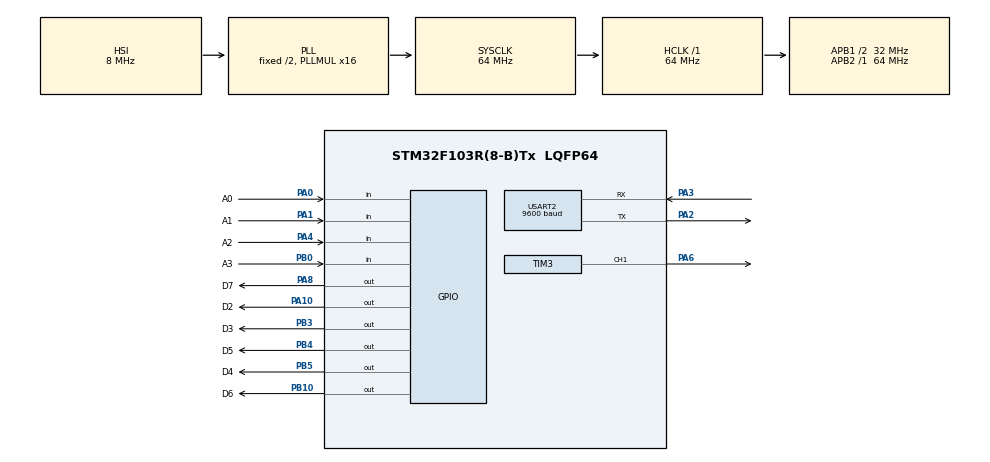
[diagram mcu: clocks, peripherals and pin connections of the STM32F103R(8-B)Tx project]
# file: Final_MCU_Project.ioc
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Mcu.Family=STM32F1
Mcu.Name=STM32F103R(8-B)Tx
Mcu.Package=LQFP64
NVIC.PriorityGroup=NVIC_PRIORITYGROUP_4
NVIC.TIM2_IRQn=true\:0\:0\:false\:false\:true\:true\:true
NVIC.USART2_IRQn=true\:0\:0\:false\:false\:true\:true\:true
PA0-WKUP.GPIO_Label=A0
PA0-WKUP.GPIO_PuPd=GPIO_PULLUP
PA0-WKUP.Signal=GPIO_Input
PA1.GPIO_Label=A1
PA1.GPIO_PuPd=GPIO_PULLUP
PA1.Signal=GPIO_Input
PA10.GPIO_Label=D2
PA10.Signal=GPIO_Output
PA13.Mode=Serial_Wire
PA13.Signal=SYS_JTMS-SWDIO
PA14.Mode=Serial_Wire
PA14.Signal=SYS_JTCK-SWCLK
PA2.Mode=Asynchronous
PA2.Signal=USART2_TX
PA3.Mode=Asynchronous
PA3.Signal=USART2_RX
PA4.GPIO_Label=A2
PA4.GPIO_PuPd=GPIO_PULLUP
PA4.Signal=GPIO_Input
PA6.Signal=S_TIM3_CH1
PA8.GPIO_Label=D7
PA8.Signal=GPIO_Output
PB0.GPIO_Label=A3
PB0.GPIO_PuPd=GPIO_PULLUP
PB0.Signal=GPIO_Input
PB10.GPIO_Label=D6
PB10.Signal=GPIO_Output
PB3.GPIO_Label=D3
PB3.Signal=GPIO_Output
PB4.GPIO_Label=D5
PB4.Signal=GPIO_Output
PB5.GPIO_Label=D4
PB5.Signal=GPIO_Output
ProjectManager.HeapSize=0x200
ProjectManager.StackSize=0x400
ProjectManager.TargetToolchain=STM32CubeIDE
RCC.AHBFreq_Value=64000000
RCC.APB1CLKDivider=RCC_HCLK_DIV2
RCC.APB1Freq_Value=32000000
RCC.APB1TimFreq_Value=64000000
RCC.APB2Freq_Value=64000000
RCC.APB2TimFreq_Value=64000000
RCC.HCLKFreq_Value=64000000
RCC.PLLMUL=RCC_PLL_MUL16
RCC.SYSCLKFreq_VALUE=64000000
RCC.SYSCLKSource=RCC_SYSCLKSOURCE_PLLCLK
RCC.USBFreq_Value=64000000
SH.S_TIM3_CH1.0=TIM3_CH1,PWM Generation1 CH1
TIM2.Period=10
TIM2.Prescaler=63999
TIM3.Channel-PWM\ Generation1\ CH1=TIM_CHANNEL_1
TIM3.Period=999
TIM3.Prescaler=63
USART2.BaudRate=9600
USART2.VirtualMode=VM_ASYNC
VP_TIM2_VS_ClockSourceINT.Mode=Internal
VP_TIM3_VS_ClockSourceINT.Mode=Internal
board=custom

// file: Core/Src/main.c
/* USER CODE BEGIN Header */
/**
  ******************************************************************************
  * @file           : main.c
  * @brief          : Main program body
  ******************************************************************************
  * @attention
  *
  * <h2><center>&copy; Copyright (c) 2022 STMicroelectronics.
  * All rights reserved.</center></h2>
  *
  * This software component is licensed by ST under BSD 3-Clause license,
  * the "License"; You may not use this file except in compliance with the
  * License. You may obtain a copy of the License at:
  *                        opensource.org/licenses/BSD-3-Clause
  *
  ******************************************************************************
  */
/* USER CODE END Header */
#include "main.h"

/* USER CODE BEGIN Includes */
#include "stdio.h"
#include "string.h"
#include "button.h"
#include "timer.h"
#include "traffic_led.h"
#include "fsm_traffic.h"
#include  "global.h"
#include "pedestrian.h"
#include "led_7_seg.h"
/* USER CODE END Includes */

TIM_HandleTypeDef htim2;
TIM_HandleTypeDef htim3;

UART_HandleTypeDef huart2;

void SystemClock_Config(void);
static void MX_GPIO_Init(void);
static void MX_TIM2_Init(void);
static void MX_TIM3_Init(void);
static void MX_USART2_UART_Init(void);

/* USER CODE BEGIN 0 */
char str[40];
void control_buzzer();
void send_uart();
/* USER CODE END 0 */

int main(void)
{

  /* MCU Configuration--------------------------------------------------------*/

  /* Reset of all peripherals, Initializes the Flash interface and the Systick. */
  HAL_Init();

  /* Configure the system clock */
  SystemClock_Config();

  /* Initialize all configured peripherals */
  MX_GPIO_Init();
  MX_TIM2_Init();
  MX_TIM3_Init();
  MX_USART2_UART_Init();
  /* USER CODE BEGIN 2 */
HAL_TIM_Base_Start_IT(&htim2);
HAL_TIM_PWM_Start(&htim3, TIM_CHANNEL_1);
  /* USER CODE END 2 */

  /* Infinite loop */
  /* USER CODE BEGIN WHILE */
mode = INIT_SYSTEM;

  while (1)
  {

	  fsm_for_button();
	  fsm_system_run();
	  fsm_pedestrian_run();
	  control_buzzer();
	 send_uart();
    /* USER CODE END WHILE */

  }
}

void SystemClock_Config(void)
{
  RCC_OscInitTypeDef RCC_OscInitStruct = {0};
  RCC_ClkInitTypeDef RCC_ClkInitStruct = {0};

  /** Initializes the RCC Oscillators according to the specified parameters
  * in the RCC_OscInitTypeDef structure.
  */
  RCC_OscInitStruct.OscillatorType = RCC_OSCILLATORTYPE_HSI;
  RCC_OscInitStruct.HSIState = RCC_HSI_ON;
  RCC_OscInitStruct.HSICalibrationValue = RCC_HSICALIBRATION_DEFAULT;
  RCC_OscInitStruct.PLL.PLLState = RCC_PLL_ON;
  RCC_OscInitStruct.PLL.PLLSource = RCC_PLLSOURCE_HSI_DIV2;
  RCC_OscInitStruct.PLL.PLLMUL = RCC_PLL_MUL16;
  if (HAL_RCC_OscConfig(&RCC_OscInitStruct) != HAL_OK)
  {
    Error_Handler();
  }
  /** Initializes the CPU, AHB and APB buses clocks
  */
  RCC_ClkInitStruct.ClockType = RCC_CLOCKTYPE_HCLK|RCC_CLOCKTYPE_SYSCLK
                              |RCC_CLOCKTYPE_PCLK1|RCC_CLOCKTYPE_PCLK2;
  RCC_ClkInitStruct.SYSCLKSource = RCC_SYSCLKSOURCE_PLLCLK;
  RCC_ClkInitStruct.AHBCLKDivider = RCC_SYSCLK_DIV1;
  RCC_ClkInitStruct.APB1CLKDivider = RCC_HCLK_DIV2;
  RCC_ClkInitStruct.APB2CLKDivider = RCC_HCLK_DIV1;

  if (HAL_RCC_ClockConfig(&RCC_ClkInitStruct, FLASH_LATENCY_2) != HAL_OK)
  {
    Error_Handler();
  }
}

static void MX_TIM2_Init(void)
{

  TIM_ClockConfigTypeDef sClockSourceConfig = {0};
  TIM_MasterConfigTypeDef sMasterConfig = {0};

  htim2.Instance = TIM2;
  htim2.Init.Prescaler = 63999;
  htim2.Init.CounterMode = TIM_COUNTERMODE_UP;
  htim2.Init.Period = 10;
  htim2.Init.ClockDivision = TIM_CLOCKDIVISION_DIV1;
  htim2.Init.AutoReloadPreload = TIM_AUTORELOAD_PRELOAD_DISABLE;
  if (HAL_TIM_Base_Init(&htim2) != HAL_OK)
  {
    Error_Handler();
  }
  sClockSourceConfig.ClockSource = TIM_CLOCKSOURCE_INTERNAL;
  if (HAL_TIM_ConfigClockSource(&htim2, &sClockSourceConfig) != HAL_OK)
  {
    Error_Handler();
  }
  sMasterConfig.MasterOutputTrigger = TIM_TRGO_RESET;
  sMasterConfig.MasterSlaveMode = TIM_MASTERSLAVEMODE_DISABLE;
  if (HAL_TIMEx_MasterConfigSynchronization(&htim2, &sMasterConfig) != HAL_OK)
  {
    Error_Handler();
  }

}

static void MX_TIM3_Init(void)
{

  TIM_ClockConfigTypeDef sClockSourceConfig = {0};
  TIM_MasterConfigTypeDef sMasterConfig = {0};
  TIM_OC_InitTypeDef sConfigOC = {0};

  htim3.Instance = TIM3;
  htim3.Init.Prescaler = 63;
  htim3.Init.CounterMode = TIM_COUNTERMODE_UP;
  htim3.Init.Period = 999;
  htim3.Init.ClockDivision = TIM_CLOCKDIVISION_DIV1;
  htim3.Init.AutoReloadPreload = TIM_AUTORELOAD_PRELOAD_DISABLE;
  if (HAL_TIM_Base_Init(&htim3) != HAL_OK)
  {
    Error_Handler();
  }
  sClockSourceConfig.ClockSource = TIM_CLOCKSOURCE_INTERNAL;
  if (HAL_TIM_ConfigClockSource(&htim3, &sClockSourceConfig) != HAL_OK)
  {
    Error_Handler();
  }
  if (HAL_TIM_PWM_Init(&htim3) != HAL_OK)
  {
    Error_Handler();
  }
  sMasterConfig.MasterOutputTrigger = TIM_TRGO_RESET;
  sMasterConfig.MasterSlaveMode = TIM_MASTERSLAVEMODE_DISABLE;
  if (HAL_TIMEx_MasterConfigSynchronization(&htim3, &sMasterConfig) != HAL_OK)
  {
    Error_Handler();
  }
  sConfigOC.OCMode = TIM_OCMODE_PWM1;
  sConfigOC.Pulse = 0;
  sConfigOC.OCPolarity = TIM_OCPOLARITY_HIGH;
  sConfigOC.OCFastMode = TIM_OCFAST_DISABLE;
  if (HAL_TIM_PWM_ConfigChannel(&htim3, &sConfigOC, TIM_CHANNEL_1) != HAL_OK)
  {
    Error_Handler();
  }
  HAL_TIM_MspPostInit(&htim3);

}

static void MX_USART2_UART_Init(void)
{

  huart2.Instance = USART2;
  huart2.Init.BaudRate = 9600;
  huart2.Init.WordLength = UART_WORDLENGTH_8B;
  huart2.Init.StopBits = UART_STOPBITS_1;
  huart2.Init.Parity = UART_PARITY_NONE;
  huart2.Init.Mode = UART_MODE_TX_RX;
  huart2.Init.HwFlowCtl = UART_HWCONTROL_NONE;
  huart2.Init.OverSampling = UART_OVERSAMPLING_16;
  if (HAL_UART_Init(&huart2) != HAL_OK)
  {
    Error_Handler();
  }

}

static void MX_GPIO_Init(void)
{
  GPIO_InitTypeDef GPIO_InitStruct = {0};

  /* GPIO Ports Clock Enable */
  __HAL_RCC_GPIOA_CLK_ENABLE();
  __HAL_RCC_GPIOB_CLK_ENABLE();

  /*Configure GPIO pin Output Level */
  HAL_GPIO_WritePin(GPIOB, D6_Pin|D3_Pin|D5_Pin|D4_Pin, GPIO_PIN_RESET);

  /*Configure GPIO pin Output Level */
  HAL_GPIO_WritePin(GPIOA, D7_Pin|D2_Pin, GPIO_PIN_RESET);

  /*Configure GPIO pins : A0_Pin A1_Pin A2_Pin */
  GPIO_InitStruct.Pin = A0_Pin|A1_Pin|A2_Pin;
  GPIO_InitStruct.Mode = GPIO_MODE_INPUT;
  GPIO_InitStruct.Pull = GPIO_PULLUP;
  HAL_GPIO_Init(GPIOA, &GPIO_InitStruct);

  /*Configure GPIO pin : A3_Pin */
  GPIO_InitStruct.Pin = A3_Pin;
  GPIO_InitStruct.Mode = GPIO_MODE_INPUT;
  GPIO_InitStruct.Pull = GPIO_PULLUP;
  HAL_GPIO_Init(A3_GPIO_Port, &GPIO_InitStruct);

  /*Configure GPIO pins : D6_Pin D3_Pin D5_Pin D4_Pin */
  GPIO_InitStruct.Pin = D6_Pin|D3_Pin|D5_Pin|D4_Pin;
  GPIO_InitStruct.Mode = GPIO_MODE_OUTPUT_PP;
  GPIO_InitStruct.Pull = GPIO_NOPULL;
  GPIO_InitStruct.Speed = GPIO_SPEED_FREQ_LOW;
  HAL_GPIO_Init(GPIOB, &GPIO_InitStruct);

  /*Configure GPIO pins : D7_Pin D2_Pin */
  GPIO_InitStruct.Pin = D7_Pin|D2_Pin;
  GPIO_InitStruct.Mode = GPIO_MODE_OUTPUT_PP;
  GPIO_InitStruct.Pull = GPIO_NOPULL;
  GPIO_InitStruct.Speed = GPIO_SPEED_FREQ_LOW;
  HAL_GPIO_Init(GPIOA, &GPIO_InitStruct);

}

/* USER CODE BEGIN 4 */
void HAL_TIM_PeriodElapsedCallback(TIM_HandleTypeDef *htim){
	timer_run();
	read_input();

}

void control_buzzer(){
	if(buzzer_flag == 1){
		// pedestrian led is GREEN
		__HAL_TIM_SetCompare (&htim3,TIM_CHANNEL_1,  pulse_width);
		if(is_timer_timeout(TIMER_BUZZER)){
			if(is_buzzer_active){
				pulse_width = 0;
				is_buzzer_active = 0;
				set_timer(TIMER_BUZZER,  time_of_buzzer );
			}
			else{
				pulse_width = 500;
				if( time_of_buzzer  > 50) time_of_buzzer =  time_of_buzzer - 50 ;
				else time_of_buzzer = 50;

				set_timer(TIMER_BUZZER,  time_of_buzzer );
				is_buzzer_active = 1;
			}
		}
	}
	else{
		// pedestrian led is RED
		//turn_of_buzzer
		__HAL_TIM_SetCompare (&htim3,TIM_CHANNEL_1, 0);
	}
}
void send_uart(){
	HAL_UART_Transmit(&huart2, (void *)str, sprintf(str, "!7SEG1: %d,  7SEG2: %d#  \r \n",buffer_output[0], buffer_output[1]), 50);
}
/* USER CODE END 4 */

void Error_Handler(void)
{
  __disable_irq();
  while (1)
  {
  }
}

/************************ (C) COPYRIGHT STMicroelectronics *****END OF FILE****/
